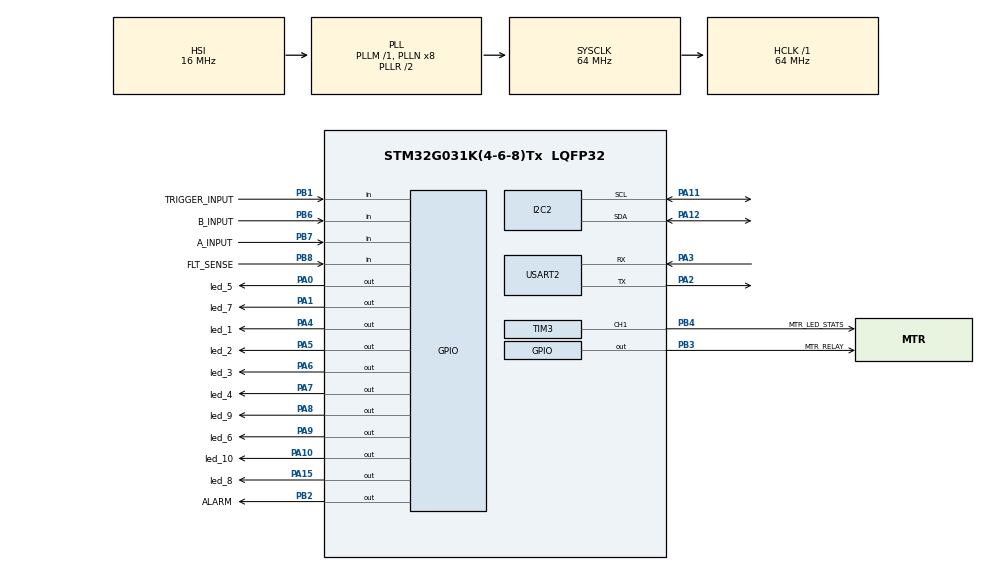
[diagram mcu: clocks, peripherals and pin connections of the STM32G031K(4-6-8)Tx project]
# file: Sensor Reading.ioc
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I2C2.Timing=0x10707DBC
Mcu.Family=STM32G0
Mcu.Name=STM32G031K(4-6-8)Tx
Mcu.Package=LQFP32
NVIC.TIM17_IRQn=true\:0\:0\:false\:false\:true\:true\:true\:true
PA0.GPIO_Label=led_5
PA0.Signal=GPIO_Output
PA1.GPIO_Label=led_7
PA1.Signal=GPIO_Output
PA10.GPIO_Label=led_10
PA10.Signal=GPIO_Output
PA11\ [PA9].Mode=I2C
PA11\ [PA9].Signal=I2C2_SCL
PA12\ [PA10].Mode=I2C
PA12\ [PA10].Signal=I2C2_SDA
PA13.Mode=Serial_Wire
PA13.Signal=SYS_SWDIO
PA14-BOOT0.Mode=Serial_Wire
PA14-BOOT0.Signal=SYS_SWCLK
PA15.GPIO_Label=led_8
PA15.Signal=GPIO_Output
PA2.Mode=Asynchronous
PA2.Signal=USART2_TX
PA3.Mode=Asynchronous
PA3.Signal=USART2_RX
PA4.GPIO_Label=led_1
PA4.Signal=GPIO_Output
PA5.GPIO_Label=led_2
PA5.Signal=GPIO_Output
PA6.GPIO_Label=led_3
PA6.Signal=GPIO_Output
PA7.GPIO_Label=led_4
PA7.Signal=GPIO_Output
PA8.GPIO_Label=led_9
PA8.Signal=GPIO_Output
PA9.GPIO_Label=led_6
PA9.Signal=GPIO_Output
PB1.GPIO_Label=TRIGGER_INPUT
PB1.Signal=GPIO_Input
PB2.GPIO_Label=ALARM
PB2.Signal=GPIO_Output
PB3.GPIO_Label=MTR_RELAY
PB3.Signal=GPIO_Output
PB4.GPIO_Label=MTR_LED_STATS
PB4.Signal=S_TIM3_CH1
PB6.GPIO_Label=B_INPUT
PB6.Signal=GPIO_Input
PB7.GPIO_Label=A_INPUT
PB7.Signal=GPIO_Input
PB8.GPIO_Label=FLT_SENSE
PB8.GPIO_PuPd=GPIO_NOPULL
PB8.Signal=GPIO_Input
PC14-OSC32_IN\ (PC14).Mode=LSE-External-Oscillator
PC14-OSC32_IN\ (PC14).Signal=RCC_OSC32_IN
PC15-OSC32_OUT\ (PC15).Mode=LSE-External-Oscillator
PC15-OSC32_OUT\ (PC15).Signal=RCC_OSC32_OUT
ProjectManager.HeapSize=0x200
ProjectManager.StackSize=0x400
ProjectManager.TargetToolchain=STM32CubeIDE
RCC.ADCFreq_Value=64000000
RCC.AHBFreq_Value=64000000
RCC.CortexFreq_Value=64000000
RCC.EXTERNAL_CLOCK_VALUE=12288000
RCC.HCLKFreq_Value=64000000
RCC.HSE_VALUE=8000000
RCC.HSI_VALUE=16000000
RCC.SYSCLKFreq_VALUE=64000000
RCC.SYSCLKSource=RCC_SYSCLKSOURCE_PLLCLK
RCC.VCOOutputFreq_Value=128000000
SH.S_TIM3_CH1.0=TIM3_CH1,PWM Generation1 CH1
TIM17.Period=10000-1
TIM17.Prescaler=8000-1
TIM3.Channel-PWM\ Generation1\ CH1=TIM_CHANNEL_1
TIM3.Period=1000-1
TIM3.Prescaler=4000-1
USART2.VirtualMode-Asynchronous=VM_ASYNC
VP_TIM17_VS_ClockSourceINT.Mode=Enable_Timer
VP_TIM3_VS_ClockSourceINT.Mode=Internal
board=custom

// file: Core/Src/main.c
/* USER CODE BEGIN Header */
/**
  ******************************************************************************
  * @file           : main.c
  * @brief          : Main program body
  ******************************************************************************
  * @attention
  *
  * Copyright (c) 2024 STMicroelectronics.
  * All rights reserved.
  *
  * This software is licensed under terms that can be found in the LICENSE file
  * in the root directory of this software component.
  * If no LICENSE file comes with this software, it is provided AS-IS.
  *
  ******************************************************************************
  */
/* USER CODE END Header */
#include "main.h"

/* USER CODE BEGIN Includes */
#include "stm32g0xx_hal.h"

#include "VL53L1X_API.h"
#include "VL53l1X_calibration.h"
#include "FIRFilter.h"

/* USER CODE END Includes */

/* USER CODE BEGIN PD */
char buff[15];
uint16_t dev = 0x52;
int status;
uint8_t byteData, sensorState=0;
uint16_t wordData;
uint16_t Distance;
uint8_t dataReady;

uint16_t ledLevel;
uint16_t fbits = 0;
int thisled = 0;

uint16_t led[10]={0x0010,0x0020,0x0040,0x0080,0x0001,0x0200,0x0002,0x8000,0x0100,0x0400};

uint8_t a,b,newTrigState;		// These variables stores Manual/auto Status value
uint8_t float_sensor;
int Threshold_min = 2000,Threshold_max = 20;
uint8_t prevTrigBtnState=1;
uint8_t MotorState;

FIRFilter sensor_Read;

/* USER CODE END PD */

I2C_HandleTypeDef hi2c2;

TIM_HandleTypeDef htim3;
TIM_HandleTypeDef htim17;

UART_HandleTypeDef huart2;

/* USER CODE BEGIN PV */
/* USER CODE BEGIN PV */

/* USER CODE END PV */

void SystemClock_Config(void);
static void MX_GPIO_Init(void);
static void MX_I2C2_Init(void);
static void MX_USART2_UART_Init(void);
static void MX_TIM17_Init(void);
static void MX_TIM3_Init(void);

/* USER CODE BEGIN 0 */
void AutonomousLowPowerRangingTest(void); /* see Autonomous ranging example implementation in USER CODE BEGIN 4 section */
void ModeSelect(void);
void led_bar(void);
uint32_t map(uint32_t x, uint32_t in_min, uint32_t in_max, uint32_t out_min, uint32_t out_max);
/* USER CODE END 0 */

int main(void)
{

  /* MCU Configuration--------------------------------------------------------*/

  /* Reset of all peripherals, Initializes the Flash interface and the Systick. */
  HAL_Init();

  /* Configure the system clock */
  SystemClock_Config();

  /* Initialize all configured peripherals */
  MX_GPIO_Init();
  MX_I2C2_Init();
  MX_USART2_UART_Init();
  MX_TIM17_Init();
  MX_TIM3_Init();
  /* USER CODE BEGIN 2 */

  /*
  status = VL53L1_RdByte(dev, 0x010F, &byteData);
  status = VL53L1_RdByte(dev, 0x0110, &byteData);
  status = VL53L1_RdWord(dev, 0x010F, &wordData);

	 while(sensorState==0){

		 status = VL53L1X_BootState(dev, &sensorState);
		 HAL_Delay(2);
	  }

	  status = VL53L1X_SensorInit(dev);
	  status = VL53L1X_StartRanging(dev);   // This function has to be called to enable the ranging

      HAL_TIM_Base_Start_IT(&htim17);					// Starting Timer Interrupt for Sensor Readings
*/

  /* USER CODE END 2 */

  /* Infinite loop */
  /* USER CODE BEGIN WHILE */
  while (1)
  {

	 __HAL_TIM_SET_COMPARE(&htim3,TIM_CHANNEL_1,500);  //PWM frequency set to 2Hz. 1000 value means 50% of ARR. This Timer will blink the LED Motor ON twice per sec

	 ModeSelect();

	 led_bar();

    /* USER CODE END WHILE */

  }
}

void SystemClock_Config(void)
{
  RCC_OscInitTypeDef RCC_OscInitStruct = {0};
  RCC_ClkInitTypeDef RCC_ClkInitStruct = {0};

  /** Configure the main internal regulator output voltage
  */
  HAL_PWREx_ControlVoltageScaling(PWR_REGULATOR_VOLTAGE_SCALE1);

  /** Initializes the RCC Oscillators according to the specified parameters
  * in the RCC_OscInitTypeDef structure.
  */
  RCC_OscInitStruct.OscillatorType = RCC_OSCILLATORTYPE_HSI;
  RCC_OscInitStruct.HSIState = RCC_HSI_ON;
  RCC_OscInitStruct.HSIDiv = RCC_HSI_DIV1;
  RCC_OscInitStruct.HSICalibrationValue = RCC_HSICALIBRATION_DEFAULT;
  RCC_OscInitStruct.PLL.PLLState = RCC_PLL_ON;
  RCC_OscInitStruct.PLL.PLLSource = RCC_PLLSOURCE_HSI;
  RCC_OscInitStruct.PLL.PLLM = RCC_PLLM_DIV1;
  RCC_OscInitStruct.PLL.PLLN = 8;
  RCC_OscInitStruct.PLL.PLLP = RCC_PLLP_DIV2;
  RCC_OscInitStruct.PLL.PLLQ = RCC_PLLQ_DIV2;
  RCC_OscInitStruct.PLL.PLLR = RCC_PLLR_DIV2;
  if (HAL_RCC_OscConfig(&RCC_OscInitStruct) != HAL_OK)
  {
    Error_Handler();
  }

  /** Initializes the CPU, AHB and APB buses clocks
  */
  RCC_ClkInitStruct.ClockType = RCC_CLOCKTYPE_HCLK|RCC_CLOCKTYPE_SYSCLK
                              |RCC_CLOCKTYPE_PCLK1;
  RCC_ClkInitStruct.SYSCLKSource = RCC_SYSCLKSOURCE_PLLCLK;
  RCC_ClkInitStruct.AHBCLKDivider = RCC_SYSCLK_DIV1;
  RCC_ClkInitStruct.APB1CLKDivider = RCC_HCLK_DIV1;

  if (HAL_RCC_ClockConfig(&RCC_ClkInitStruct, FLASH_LATENCY_2) != HAL_OK)
  {
    Error_Handler();
  }
}

static void MX_I2C2_Init(void)
{

  hi2c2.Instance = I2C2;
  hi2c2.Init.Timing = 0x10707DBC;
  hi2c2.Init.OwnAddress1 = 0;
  hi2c2.Init.AddressingMode = I2C_ADDRESSINGMODE_7BIT;
  hi2c2.Init.DualAddressMode = I2C_DUALADDRESS_DISABLE;
  hi2c2.Init.OwnAddress2 = 0;
  hi2c2.Init.OwnAddress2Masks = I2C_OA2_NOMASK;
  hi2c2.Init.GeneralCallMode = I2C_GENERALCALL_DISABLE;
  hi2c2.Init.NoStretchMode = I2C_NOSTRETCH_DISABLE;
  if (HAL_I2C_Init(&hi2c2) != HAL_OK)
  {
    Error_Handler();
  }

  /** Configure Analogue filter
  */
  if (HAL_I2CEx_ConfigAnalogFilter(&hi2c2, I2C_ANALOGFILTER_ENABLE) != HAL_OK)
  {
    Error_Handler();
  }

  /** Configure Digital filter
  */
  if (HAL_I2CEx_ConfigDigitalFilter(&hi2c2, 0) != HAL_OK)
  {
    Error_Handler();
  }

}

static void MX_TIM3_Init(void)
{

  TIM_ClockConfigTypeDef sClockSourceConfig = {0};
  TIM_MasterConfigTypeDef sMasterConfig = {0};
  TIM_OC_InitTypeDef sConfigOC = {0};

  htim3.Instance = TIM3;
  htim3.Init.Prescaler = 4000-1;
  htim3.Init.CounterMode = TIM_COUNTERMODE_UP;
  htim3.Init.Period = 1000-1;
  htim3.Init.ClockDivision = TIM_CLOCKDIVISION_DIV1;
  htim3.Init.AutoReloadPreload = TIM_AUTORELOAD_PRELOAD_DISABLE;
  if (HAL_TIM_Base_Init(&htim3) != HAL_OK)
  {
    Error_Handler();
  }
  sClockSourceConfig.ClockSource = TIM_CLOCKSOURCE_INTERNAL;
  if (HAL_TIM_ConfigClockSource(&htim3, &sClockSourceConfig) != HAL_OK)
  {
    Error_Handler();
  }
  if (HAL_TIM_PWM_Init(&htim3) != HAL_OK)
  {
    Error_Handler();
  }
  sMasterConfig.MasterOutputTrigger = TIM_TRGO_RESET;
  sMasterConfig.MasterSlaveMode = TIM_MASTERSLAVEMODE_DISABLE;
  if (HAL_TIMEx_MasterConfigSynchronization(&htim3, &sMasterConfig) != HAL_OK)
  {
    Error_Handler();
  }
  sConfigOC.OCMode = TIM_OCMODE_PWM1;
  sConfigOC.Pulse = 0;
  sConfigOC.OCPolarity = TIM_OCPOLARITY_HIGH;
  sConfigOC.OCFastMode = TIM_OCFAST_DISABLE;
  if (HAL_TIM_PWM_ConfigChannel(&htim3, &sConfigOC, TIM_CHANNEL_1) != HAL_OK)
  {
    Error_Handler();
  }
  HAL_TIM_MspPostInit(&htim3);

}

static void MX_TIM17_Init(void)
{

  htim17.Instance = TIM17;
  htim17.Init.Prescaler = 8000-1;
  htim17.Init.CounterMode = TIM_COUNTERMODE_UP;
  htim17.Init.Period = 10000-1;
  htim17.Init.ClockDivision = TIM_CLOCKDIVISION_DIV1;
  htim17.Init.RepetitionCounter = 0;
  htim17.Init.AutoReloadPreload = TIM_AUTORELOAD_PRELOAD_DISABLE;
  if (HAL_TIM_Base_Init(&htim17) != HAL_OK)
  {
    Error_Handler();
  }

}

static void MX_USART2_UART_Init(void)
{

  huart2.Instance = USART2;
  huart2.Init.BaudRate = 115200;
  huart2.Init.WordLength = UART_WORDLENGTH_8B;
  huart2.Init.StopBits = UART_STOPBITS_1;
  huart2.Init.Parity = UART_PARITY_NONE;
  huart2.Init.Mode = UART_MODE_TX_RX;
  huart2.Init.HwFlowCtl = UART_HWCONTROL_NONE;
  huart2.Init.OverSampling = UART_OVERSAMPLING_16;
  huart2.Init.OneBitSampling = UART_ONE_BIT_SAMPLE_DISABLE;
  huart2.Init.ClockPrescaler = UART_PRESCALER_DIV1;
  huart2.AdvancedInit.AdvFeatureInit = UART_ADVFEATURE_NO_INIT;
  if (HAL_UART_Init(&huart2) != HAL_OK)
  {
    Error_Handler();
  }

}

static void MX_GPIO_Init(void)
{
  GPIO_InitTypeDef GPIO_InitStruct = {0};

  /* GPIO Ports Clock Enable */
  __HAL_RCC_GPIOC_CLK_ENABLE();
  __HAL_RCC_GPIOA_CLK_ENABLE();
  __HAL_RCC_GPIOB_CLK_ENABLE();

  /*Configure GPIO pin Output Level */
  HAL_GPIO_WritePin(GPIOA, led_5_Pin|led_7_Pin|led_1_Pin|led_2_Pin
                          |led_3_Pin|led_4_Pin|led_9_Pin|led_6_Pin
                          |led_10_Pin|led_8_Pin, GPIO_PIN_RESET);

  /*Configure GPIO pin Output Level */
  HAL_GPIO_WritePin(GPIOB, ALARM_Pin|MTR_RELAY_Pin, GPIO_PIN_RESET);

  /*Configure GPIO pins : led_5_Pin led_7_Pin led_1_Pin led_2_Pin
                           led_3_Pin led_4_Pin led_9_Pin led_6_Pin
                           led_10_Pin led_8_Pin */
  GPIO_InitStruct.Pin = led_5_Pin|led_7_Pin|led_1_Pin|led_2_Pin
                          |led_3_Pin|led_4_Pin|led_9_Pin|led_6_Pin
                          |led_10_Pin|led_8_Pin;
  GPIO_InitStruct.Mode = GPIO_MODE_OUTPUT_PP;
  GPIO_InitStruct.Pull = GPIO_NOPULL;
  GPIO_InitStruct.Speed = GPIO_SPEED_FREQ_LOW;
  HAL_GPIO_Init(GPIOA, &GPIO_InitStruct);

  /*Configure GPIO pins : TRIGGER_INPUT_Pin B_INPUT_Pin A_INPUT_Pin FLT_SENSE_Pin */
  GPIO_InitStruct.Pin = TRIGGER_INPUT_Pin|B_INPUT_Pin|A_INPUT_Pin|FLT_SENSE_Pin;
  GPIO_InitStruct.Mode = GPIO_MODE_INPUT;
  GPIO_InitStruct.Pull = GPIO_NOPULL;
  HAL_GPIO_Init(GPIOB, &GPIO_InitStruct);

  /*Configure GPIO pins : ALARM_Pin MTR_RELAY_Pin */
  GPIO_InitStruct.Pin = ALARM_Pin|MTR_RELAY_Pin;
  GPIO_InitStruct.Mode = GPIO_MODE_OUTPUT_PP;
  GPIO_InitStruct.Pull = GPIO_NOPULL;
  GPIO_InitStruct.Speed = GPIO_SPEED_FREQ_LOW;
  HAL_GPIO_Init(GPIOB, &GPIO_InitStruct);

}

/* USER CODE BEGIN 4 */

void AutonomousLowPowerRangingTest(void){

	  while (dataReady == 0){

		  status = VL53L1X_CheckForDataReady(dev, &dataReady);

	  }
	  dataReady = 0;

	  status = VL53L1X_GetDistance(dev, &Distance);
	  status = VL53L1X_ClearInterrupt(dev); /* clear interrupt has to be called to enable next interrupt*/

	   FIRFilter_Update(&sensor_Read, Distance);
	  sprintf(buff, "%.1f \n\r", sensor_Read.out);
	 HAL_UART_Transmit(&huart2, (uint8_t*)buff, sizeof(buff), 200);

}

void led_bar()
{

	ledLevel = map(Distance, 55, 335, 0, 10);

	  // loop over the LED array:
	  for (thisled = 0; thisled < 10; thisled++) {
	    // if the array element's index is less than ledLevel,
	    // turn the pin for this element on:
	    if (thisled < ledLevel) {

	    	HAL_GPIO_WritePin(GPIOA,(uint16_t)led[thisled], GPIO_PIN_RESET);

	    }
	    // turn off all pins higher than the ledLevel:
	    else {

	    	HAL_GPIO_WritePin(GPIOA,(uint16_t)led[thisled], GPIO_PIN_SET);

	    }

	  }

}

void ModeSelect()
{
		a = HAL_GPIO_ReadPin(GPIOB, A_INPUT_Pin);		// Reads Input for Auto/Manual
		b = HAL_GPIO_ReadPin(GPIOB, B_INPUT_Pin);		// Reads Input for Auto/Manual

		newTrigState = HAL_GPIO_ReadPin(GPIOB, TRIGGER_INPUT_Pin);		// Reads Input from the Trigger Pin

		float_sensor = HAL_GPIO_ReadPin(GPIOB, FLT_SENSE_Pin);		//Reads Input from the Float Sensor

		//sprintf(buff, "%d,%d,%d, %d \n\r",a,b,newTrigState,float_sensor);

		//sprintf(buff, "%d \n\r",float_sensor);
		//HAL_UART_Transmit(&huart2, (uint8_t*)buff, sizeof(buff), 200);
       // HAL_Delay(200);

		 if((a==1) && (b==0)){						// The switch is in Auto Mode. ie the switch position is at =

					  // newTrigState = HAL_GPIO_ReadPin(GPIOA, TRIGGER_INPUT_Pin);

							if(newTrigState == 0){

							//	if (MotorState == 0 && ((Distance >= Threshold_min) || (Distance <= Threshold_min)  || float_sensor!=0)){					//Water is less than Threshold level, then turn ON the Motor
								if (MotorState == 0 && float_sensor!=0){					//Water is less than Threshold level, then turn ON the Motor
									HAL_TIM_PWM_Start(&htim3, TIM_CHANNEL_1);
									HAL_GPIO_WritePin(GPIOB,MTR_RELAY_Pin,GPIO_PIN_SET);
									MotorState = 1;
								}

							//} else if(MotorState == 1 && ((Distance <= Threshold_max) || float_sensor==0)){		//Water has reached the Threshold Level, turn OFF the Motor
							  } else if(MotorState == 1 && float_sensor==0){		//Water has reached the Threshold Level, turn OFF the Motor

								HAL_TIM_PWM_Stop(&htim3, TIM_CHANNEL_1);
							    HAL_GPIO_WritePin(GPIOB,MTR_RELAY_Pin,GPIO_PIN_RESET);
							    HAL_GPIO_WritePin(GPIOB,ALARM_Pin,GPIO_PIN_SET);
							    MotorState = 0;
							  }	else if((MotorState == 0 && newTrigState == 1) || float_sensor==0){				//Water has reached the Threshold Level, turn OFF the Motor

								HAL_TIM_PWM_Stop(&htim3, TIM_CHANNEL_1);
							    HAL_GPIO_WritePin(GPIOB,MTR_RELAY_Pin,GPIO_PIN_RESET);
							   // HAL_GPIO_WritePin(GPIOB,ALARM_Pin,GPIO_PIN_RESET);
							  }

				   } else if((a==0) && (b==1)){						// The switch is in Manual Mode. When switch symbol is - then we are in manual mode, when switch symbol is = then we are in auto-mode

					   if(newTrigState==0 && prevTrigBtnState==1){    //If the state has changed, increment the counter

						   if(MotorState == 0){        //If the current state of Motor is LOW, then the button went from off to on

							HAL_TIM_PWM_Start(&htim3, TIM_CHANNEL_1);			//  Motor_On Blinky Status
							HAL_GPIO_WritePin(GPIOB,MTR_RELAY_Pin,GPIO_PIN_SET);
							MotorState=1;

							}else{

							HAL_TIM_PWM_Stop(&htim3, TIM_CHANNEL_1);
							HAL_GPIO_WritePin(GPIOB,MTR_RELAY_Pin,GPIO_PIN_RESET);
							MotorState=0;
							}
						   HAL_Delay(5);

				    }
					   	   prevTrigBtnState = newTrigState;

				   }else {// The switch is in Off/Center Mode
					   MotorState =0;
					   HAL_TIM_PWM_Stop(&htim3, TIM_CHANNEL_1);
					   HAL_GPIO_WritePin(GPIOB,MTR_RELAY_Pin,GPIO_PIN_RESET);
					   HAL_GPIO_WritePin(GPIOB,ALARM_Pin,GPIO_PIN_RESET);
		           }

}

void HAL_TIM_PeriodElapsedCallback (TIM_HandleTypeDef * htim)

{

  if(htim == &htim17){

    // AutonomousLowPowerRangingTest();				//This function or API triggers after every 30s. Update Event handler.

  }

}

uint32_t  map(uint32_t  x, uint32_t  in_min, uint32_t  in_max, uint32_t  out_min, uint32_t  out_max) {
  return (x - in_min) * (out_max - out_min) / (in_max - in_min) + out_min;
}

/* USER CODE END 4 */

void Error_Handler(void)
{
  __disable_irq();
  while (1)
  {
  }
}
